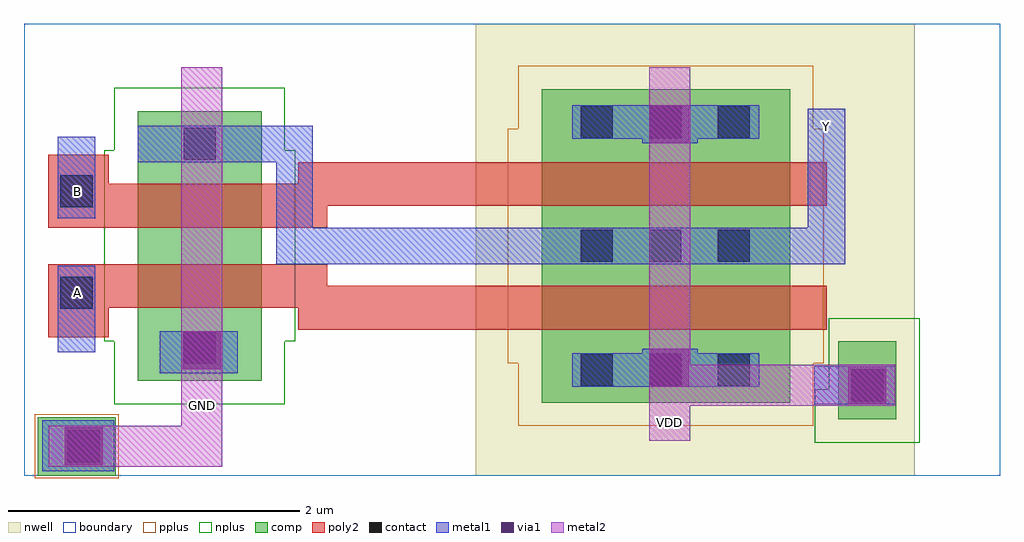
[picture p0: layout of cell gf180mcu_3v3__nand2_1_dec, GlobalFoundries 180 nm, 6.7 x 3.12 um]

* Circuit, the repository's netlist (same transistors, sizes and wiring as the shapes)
.subckt gf180mcu_3v3__nand2_1_dec A B Z VDD GND
X0 VDD B Z VDD pfet_03v3 w=1.7u l=0.3u
X1 Z A VDD VDD pfet_03v3 w=1.7u l=0.3u
X2 a_28_21# A Z GND nfet_03v3 w=0.85u l=0.3u
X3 GND B a_28_21# GND nfet_03v3 w=0.85u l=0.3u
.ends

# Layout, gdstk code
import gdstk
lib = gdstk.Library(unit=1e-6, precision=1e-09)
def R(c, l, rs):  # rectangles x0, y0, x1, y1
    for r in rs: c.add(gdstk.rectangle(r[:2], r[2:], *l))
def A(c, l, x, y, w, h, nx, ny, dx, dy):  # array of equal rectangles
    R(c, l, [(x+i*dx, y+j*dy, x+i*dx+w, y+j*dy+h) for i in range(nx) for j in range(ny)])
boundary = (0, 0)
nwell = (21, 0)
comp = (22, 0)
poly2 = (30, 0)
pplus = (31, 0)
nplus = (32, 0)
contact = (33, 0)
metal1 = (34, 0)
via1 = (35, 0)
metal2 = (36, 0)

gf180mcu_3v3__nand2_1_de = lib.new_cell('gf180mcu_3v3__nand2_1_dec')
R(gf180mcu_3v3__nand2_1_de, boundary, [(0,0,6.695,3.1)])
R(gf180mcu_3v3__nand2_1_de, nwell, [(3.1,0,6.11,3.1)])
R(gf180mcu_3v3__nand2_1_de, comp, [(0.095,0,0.63,0.4), (5.585,0.385,5.985,0.92), (3.55,0.5,5.255,2.65), (0.78,0.65,1.63,2.5)])
R(gf180mcu_3v3__nand2_1_de, poly2, [(0.165,0.95,0.58,1.15), (1.88,1,5.505,1.15), (0.165,1.15,5.505,1.3), (0.165,1.3,2.08,1.45), (0.165,1.7,2.08,1.85), (0.165,1.85,5.505,2), (0.165,2,0.58,2.2), (1.88,2,5.505,2.15)])
R(gf180mcu_3v3__nand2_1_de, pplus, [(0.075,-0.02,0.65,0.42), (3.39,0.34,5.415,0.77), (3.32,0.77,5.485,2.38), (3.39,2.38,5.415,2.81)])
R(gf180mcu_3v3__nand2_1_de, nplus, [(5.425,0.225,6.145,0.59), (0.62,0.49,1.79,0.92), (5.52,0.59,6.145,1.08), (0.55,0.92,1.86,2.23), (0.62,2.23,1.79,2.66)])
A(gf180mcu_3v3__nand2_1_de, contact, 3.82, 0.615, 0.22, 0.22, 3, 3, 0.47, 0.85)
R(gf180mcu_3v3__nand2_1_de, contact, [(0.3,0.09,0.52,0.31), (5.675,0.51,5.895,0.73), (1.095,0.765,1.315,0.985), (0.25,1.145,0.47,1.365), (0.25,1.84,0.47,2.06), (1.095,2.165,1.315,2.385)])
R(gf180mcu_3v3__nand2_1_de, metal1, [(0.125,0.03,0.62,0.38), (5.42,0.49,5.975,0.75), (3.76,0.61,5.045,0.84), (0.93,0.7,1.465,0.99), (4.24,0.84,4.62,0.87), (0.23,0.845,0.49,1.44), (1.73,1.45,5.635,1.7), (1.73,1.7,1.98,2.15), (5.375,1.7,5.635,2.515), (0.23,1.765,0.49,2.325), (0.78,2.15,1.98,2.4), (4.24,2.28,4.62,2.31), (3.76,2.31,5.045,2.54)])
R(gf180mcu_3v3__nand2_1_de, via1, [(0.28,0.07,0.54,0.33), (5.655,0.49,5.915,0.75), (4.3,0.61,4.56,0.87), (1.09,0.73,1.35,0.99), (4.3,2.28,4.56,2.54)])
R(gf180mcu_3v3__nand2_1_de, metal2, [(0.17,0.06,1.36,0.34), (4.29,0.24,4.57,0.48), (1.08,0.34,1.36,2.8), (4.29,0.48,5.975,0.76), (4.29,0.76,4.57,2.8)])
gf180mcu_3v3__nand2_1_de.add(gdstk.Label('B', (0.365,1.95), layer=34, texttype=0))
gf180mcu_3v3__nand2_1_de.add(gdstk.Label('A', (0.365,1.255), layer=34, texttype=0))
gf180mcu_3v3__nand2_1_de.add(gdstk.Label('VDD', (4.43,0.365), layer=36, texttype=0))
gf180mcu_3v3__nand2_1_de.add(gdstk.Label('GND', (1.225,0.48), layer=36, texttype=0))
gf180mcu_3v3__nand2_1_de.add(gdstk.Label('Y', (5.505,2.395), layer=34, texttype=0))

lib.write_gds('gf180mcu_3v3__nand2_1_dec.gds')
